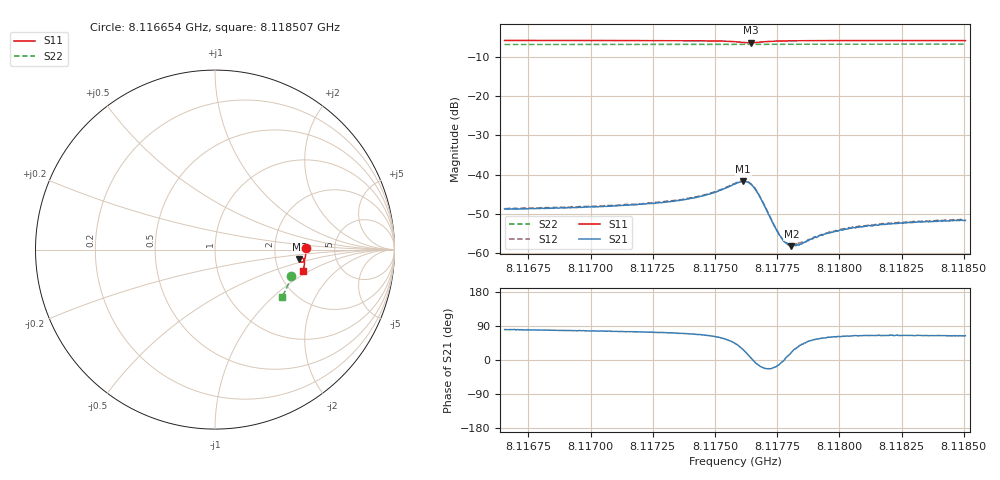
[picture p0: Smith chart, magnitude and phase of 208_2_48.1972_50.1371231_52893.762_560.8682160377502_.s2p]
#  HZ  S  RI  R  50.00
! Rohde & Schwarz Vector Network Analyzer
! Rohde-Schwarz,ZNB20-2Port,1311601062101988,3.16
! Created: UTC 3/20/2024, 11:45:19 AM
! freq[Hz]  re:S11  im:S11  re:S21  im:S21  re:S12  im:S12  re:S22  im:S22
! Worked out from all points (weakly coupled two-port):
!   401 points, 8.116654 GHz to 8.118507 GHz, reference 50 ohm
!   highest |S21| = -41.68 dB at 8.117613 GHz (marker M1); lowest = -58.1 dB at 8.117807 GHz (marker M2)
!   lowest |S11| = -6.5 dB at 8.117645 GHz (marker M3), VSWR 2.80, Z = 137 - j19.4 ohm
!   |S11| at or under -10 dB: nowhere
!   |S22| runs from -6.9 to -6.8 dB; largest |S21 - S12| = 0.00022
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8.1166539e9  0.5066 0.00954  0.000617 0.00362  0.000664 0.00364  0.4257 -0.1463
8.1169643e9  0.5061 -0.0145  0.000856 0.00376  0.000931 0.00383  0.419 -0.1666
8.1172746e9  0.5035 -0.0397  0.00133 0.00422  0.0014 0.00427  0.4114 -0.1871
8.1173673e9  0.5019 -0.0482  0.00161 0.00449  0.00171 0.00453  0.4088 -0.1931
8.1174506e9  0.4992 -0.0566  0.00215 0.00494  0.00226 0.005  0.4064 -0.1985
8.1175062e9  0.4957 -0.063  0.00294 0.00532  0.00305 0.0054  0.4046 -0.2021
8.1175803e9  0.4835 -0.0704  0.00551 0.00531  0.00566 0.00532  0.402 -0.2067
8.1176128e9  0.474 -0.067  0.00731 0.00379  0.00747 0.00379  0.4006 -0.2086
8.1176313e9  0.4702 -0.0608  0.00778 0.00205  0.00796 0.00203  0.4 -0.2092
8.1176452e9  0.4705 -0.0549  0.00752 0.000644  0.00763 0.00059  0.3996 -0.2098
8.1176591e9  0.4734 -0.05  0.00669 -0.000574  0.00683 -0.000678  0.3994 -0.2105
8.1176776e9  0.4794 -0.0465  0.00525 -0.00139  0.0053 -0.00149  0.3994 -0.2116
8.1177425e9  0.494 -0.0523  0.00202 -0.000658  0.00205 -0.000715  0.398 -0.2156
8.1177656e9  0.4961 -0.0558  0.0016 -0.000207  0.00158 -0.000232  0.3974 -0.2174
8.1177888e9  0.4974 -0.0591  0.00132 0.000184  0.00136 0.000154  0.3967 -0.2188
8.1178073e9  0.4979 -0.0616  0.00116 0.000432  0.00122 0.000435  0.396 -0.22
8.1178444e9  0.4987 -0.0661  0.00103 0.000833  0.00106 0.000881  0.3949 -0.2225
8.1178907e9  0.4989 -0.0709  0.000942 0.00122  0.000941 0.00119  0.3935 -0.2254
8.1179555e9  0.4985 -0.0773  0.000905 0.00158  0.000922 0.00157  0.3915 -0.2295
8.1180158e9  0.4979 -0.0828  0.000907 0.00177  0.000991 0.00181  0.3894 -0.2334
8.118201e9  0.4955 -0.098  0.000993 0.00217  0.00105 0.00219  0.383 -0.2446
8.1185068e9  0.4903 -0.1211  0.00115 0.00236  0.00118 0.0024  0.3717 -0.2629
